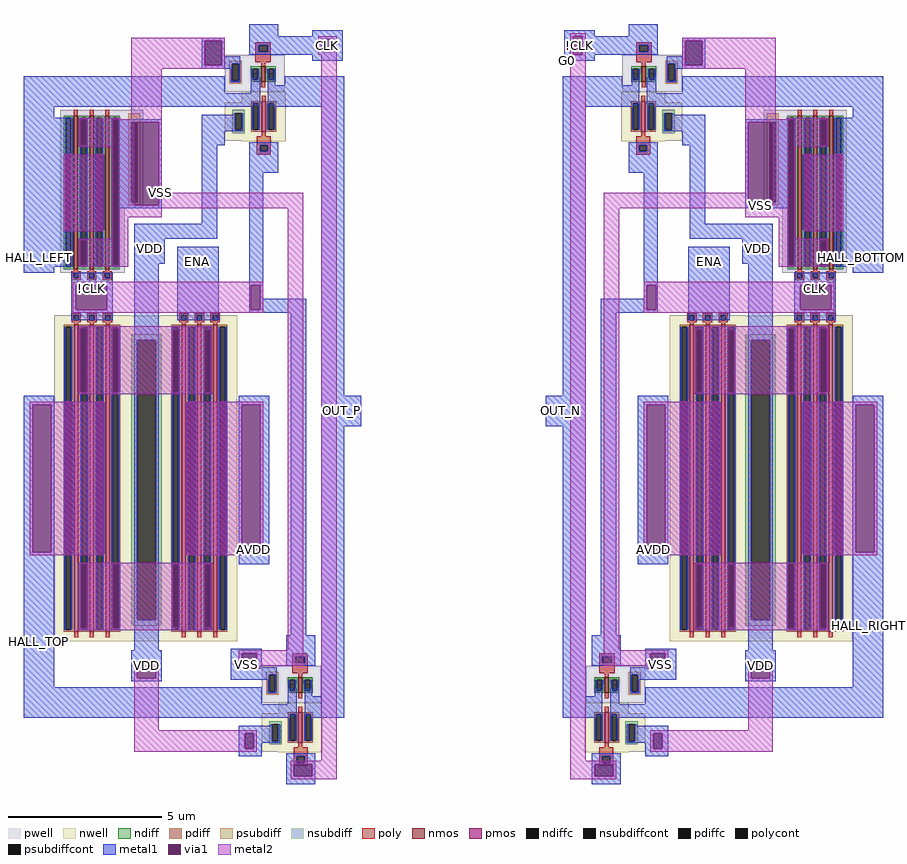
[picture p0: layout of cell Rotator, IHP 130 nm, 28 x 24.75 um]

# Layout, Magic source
magic
tech ihp-sg13g2
magscale 1 2
<< nwell >>
rect -2200 -5800 -1890 -3680
rect 1890 -5800 2200 -3680
<< pwell >>
rect -2560 -2980 -2020 -2340
rect 2020 -2980 2560 -2340
rect -2560 -3400 -2140 -2980
rect 2140 -3400 2560 -2980
<< psubdiff >>
rect -2120 -2420 -2040 -2360
rect -2120 -2940 -2100 -2420
rect -2060 -2940 -2040 -2420
rect -2120 -2960 -2040 -2940
rect 2040 -2420 2120 -2360
rect 2040 -2940 2060 -2420
rect 2100 -2940 2120 -2420
rect 2040 -2960 2120 -2940
<< nsubdiff >>
rect -2100 -3840 -1900 -3800
rect -2100 -5660 -2060 -3840
rect -1940 -5660 -1900 -3840
rect -2100 -5700 -1900 -5660
rect 1900 -3840 2100 -3800
rect 1900 -5660 1940 -3840
rect 2060 -5660 2100 -3840
rect 1900 -5700 2100 -5660
<< psubdiffcont >>
rect -2100 -2940 -2060 -2420
rect 2060 -2940 2100 -2420
<< nsubdiffcont >>
rect -2060 -5660 -1940 -3840
rect 1940 -5660 2060 -3840
<< metal1 >>
rect -920 -1860 -720 -1820
rect -1140 -1880 -720 -1860
rect -1140 -1960 -860 -1880
rect -780 -1960 -720 -1880
rect -1140 -1980 -720 -1960
rect -920 -2020 -720 -1980
rect 720 -1860 920 -1820
rect 720 -1980 780 -1860
rect 840 -1980 1140 -1860
rect 720 -2020 920 -1980
rect -2800 -2320 -1640 -2120
rect -960 -2320 -710 -2120
rect -2800 -2390 -2600 -2320
rect -2800 -3360 -2480 -2390
rect -2180 -2420 -1900 -2400
rect -2180 -2940 -2100 -2420
rect -2180 -2960 -2080 -2940
rect -1920 -2960 -1900 -2420
rect -2180 -2980 -1900 -2960
rect -1640 -3080 -1540 -2560
rect -2080 -3180 -1540 -3080
rect -2080 -3340 -1880 -3180
rect -2800 -3400 -2600 -3360
rect -2490 -3480 -2220 -3400
rect -2490 -3640 -2460 -3480
rect -2260 -3640 -2220 -3480
rect -2490 -3710 -2220 -3640
rect -2440 -3760 -2380 -3750
rect -2440 -4180 -2430 -3760
rect -2390 -4180 -2380 -3760
rect -2440 -4190 -2380 -4180
rect -2230 -3760 -2170 -3750
rect -2230 -4180 -2220 -3760
rect -2180 -4180 -2170 -3760
rect -2230 -4190 -2170 -4180
rect -2080 -3840 -1920 -3340
rect -1800 -3710 -1530 -3230
rect -1330 -3480 -1240 -2750
rect -1330 -3640 -1320 -3480
rect -1260 -3570 -1240 -3480
rect -1260 -3640 -960 -3570
rect -1330 -3660 -960 -3640
rect -2800 -4260 -2600 -4200
rect -2800 -5220 -2740 -4260
rect -2620 -5220 -2600 -4260
rect -2800 -6100 -2600 -5220
rect -2440 -5296 -2380 -5290
rect -2440 -5716 -2428 -5296
rect -2388 -5716 -2380 -5296
rect -2440 -5730 -2380 -5716
rect -2230 -5296 -2170 -5290
rect -2230 -5716 -2218 -5296
rect -2178 -5716 -2170 -5296
rect -2230 -5730 -2170 -5716
rect -2080 -5660 -2060 -3840
rect -1940 -5660 -1920 -3840
rect -1400 -4260 -1200 -4200
rect -1400 -5220 -1380 -4260
rect -1260 -5220 -1200 -4260
rect -1400 -5300 -1200 -5220
rect -2080 -5860 -1920 -5660
rect -1060 -5760 -960 -3660
rect -860 -4200 -710 -2320
rect 710 -2320 960 -2120
rect 1640 -2320 2800 -2120
rect 710 -4200 860 -2320
rect 2600 -2390 2800 -2320
rect 1900 -2420 2180 -2400
rect 1240 -3480 1330 -2750
rect 1540 -3080 1640 -2560
rect 1900 -2960 1920 -2420
rect 2100 -2940 2180 -2420
rect 2080 -2960 2180 -2940
rect 1900 -2980 2180 -2960
rect 1540 -3180 2080 -3080
rect 1240 -3570 1260 -3480
rect -860 -4400 -600 -4200
rect 600 -4400 860 -4200
rect -2100 -5980 -1900 -5860
rect -2100 -6040 -2060 -5980
rect -1940 -6040 -1900 -5980
rect -2100 -6060 -1900 -6040
rect -1450 -5880 -1250 -5850
rect -1450 -5960 -1380 -5880
rect -1280 -5960 -1250 -5880
rect -1450 -6050 -1250 -5960
rect -860 -6100 -710 -4400
rect 710 -6100 860 -4400
rect 960 -3640 1260 -3570
rect 1320 -3640 1330 -3480
rect 960 -3660 1330 -3640
rect 960 -5760 1060 -3660
rect 1530 -3710 1800 -3230
rect 1880 -3340 2080 -3180
rect 1920 -3840 2080 -3340
rect 2480 -3360 2800 -2390
rect 2600 -3400 2800 -3360
rect 2220 -3480 2490 -3400
rect 2220 -3640 2260 -3480
rect 2460 -3640 2490 -3480
rect 2220 -3710 2490 -3640
rect 1200 -4260 1400 -4200
rect 1200 -5220 1260 -4260
rect 1380 -5220 1400 -4260
rect 1200 -5300 1400 -5220
rect 1920 -5660 1940 -3840
rect 2060 -5660 2080 -3840
rect 2170 -3760 2230 -3750
rect 2170 -4180 2180 -3760
rect 2220 -4180 2230 -3760
rect 2170 -4190 2230 -4180
rect 2380 -3760 2440 -3750
rect 2380 -4180 2390 -3760
rect 2430 -4180 2440 -3760
rect 2380 -4190 2440 -4180
rect 2600 -4260 2800 -4200
rect 2600 -5220 2620 -4260
rect 2740 -5220 2800 -4260
rect 1250 -5880 1450 -5850
rect 1920 -5860 2080 -5660
rect 2170 -5296 2230 -5290
rect 2170 -5716 2178 -5296
rect 2218 -5716 2230 -5296
rect 2170 -5730 2230 -5716
rect 2380 -5296 2440 -5290
rect 2380 -5716 2388 -5296
rect 2428 -5716 2440 -5296
rect 2380 -5730 2440 -5716
rect 1250 -5960 1280 -5880
rect 1380 -5960 1450 -5880
rect 1250 -6050 1450 -5960
rect 1900 -5980 2100 -5860
rect 1900 -6040 1940 -5980
rect 2060 -6040 2100 -5980
rect 1900 -6060 2100 -6040
rect 2600 -6100 2800 -5220
rect -2800 -6300 -1400 -6100
rect 1400 -6300 2800 -6100
rect -1050 -6680 -1040 -6610
rect 1040 -6680 1050 -6610
<< via1 >>
rect -1620 -2050 -1510 -1890
rect -860 -1960 -780 -1880
rect 780 -1980 840 -1860
rect 1510 -2050 1620 -1890
rect -2430 -2570 -2390 -2400
rect -2430 -3350 -2390 -3190
rect -2220 -3350 -2180 -2400
rect -2080 -2940 -2060 -2420
rect -2060 -2940 -1920 -2420
rect -2080 -2960 -1920 -2940
rect -2460 -3640 -2260 -3480
rect -2430 -4180 -2390 -3760
rect -2220 -4180 -2180 -3760
rect -1320 -3640 -1260 -3480
rect -2740 -5220 -2620 -4260
rect -2428 -5716 -2388 -5296
rect -2218 -5716 -2178 -5296
rect -1830 -4180 -1790 -3770
rect -1620 -4180 -1580 -3770
rect -1380 -5220 -1260 -4260
rect -1830 -5710 -1790 -5300
rect -1620 -5710 -1580 -5300
rect 1920 -2940 2060 -2420
rect 2060 -2940 2080 -2420
rect 1920 -2960 2080 -2940
rect -2060 -6040 -1940 -5980
rect -1380 -5960 -1280 -5880
rect 1260 -3640 1320 -3480
rect 1580 -4180 1620 -3770
rect 1790 -4180 1830 -3770
rect 2180 -3350 2220 -2400
rect 2390 -2570 2430 -2400
rect 2390 -3350 2430 -3190
rect 2260 -3640 2460 -3480
rect 1260 -5220 1380 -4260
rect 1580 -5710 1620 -5300
rect 1790 -5710 1830 -5300
rect 2180 -4180 2220 -3760
rect 2390 -4180 2430 -3760
rect 2620 -5220 2740 -4260
rect 2178 -5716 2218 -5296
rect 2388 -5716 2428 -5296
rect 1280 -5960 1380 -5880
rect 1940 -6040 2060 -5980
rect -1360 -6500 -1300 -6400
rect 1300 -6500 1360 -6400
rect -1040 -6680 -920 -6600
rect 920 -6680 1040 -6600
<< metal2 >>
rect 760 -1860 860 -1840
rect -2100 -1890 -1490 -1870
rect -2100 -2050 -1620 -1890
rect -1510 -2050 -1490 -1890
rect -880 -1880 -760 -1860
rect -880 -1960 -860 -1880
rect -780 -1960 -760 -1880
rect -880 -1980 -760 -1960
rect -2100 -2070 -1490 -2050
rect -2440 -2400 -2170 -2390
rect -2100 -2400 -1900 -2070
rect -2440 -2570 -2430 -2400
rect -2390 -2570 -2220 -2400
rect -2440 -2580 -2220 -2570
rect -2540 -3130 -2280 -2630
rect -2230 -3180 -2220 -2580
rect -2440 -3190 -2220 -3180
rect -2440 -3350 -2430 -3190
rect -2390 -3350 -2220 -3190
rect -2180 -2420 -1900 -2400
rect -2180 -2960 -2080 -2420
rect -1920 -2880 -1900 -2420
rect -1920 -2960 -980 -2880
rect -2180 -2980 -980 -2960
rect -2180 -3040 -1900 -2980
rect -2180 -3350 -2120 -3040
rect -2440 -3360 -2120 -3350
rect -2480 -3480 -1240 -3460
rect -2480 -3640 -2460 -3480
rect -2260 -3640 -1320 -3480
rect -1260 -3640 -1240 -3480
rect -2480 -3660 -1240 -3640
rect -2440 -3760 -1570 -3750
rect -2440 -4180 -2430 -3760
rect -2390 -4180 -2220 -3760
rect -2180 -3770 -1570 -3760
rect -2180 -4180 -1830 -3770
rect -1790 -4180 -1620 -3770
rect -1580 -4180 -1570 -3770
rect -2440 -4190 -1570 -4180
rect -2760 -4260 -2280 -4240
rect -2760 -5220 -2740 -4260
rect -2620 -5220 -2280 -4260
rect -2760 -5240 -2280 -5220
rect -1740 -4260 -1240 -4240
rect -1740 -5220 -1380 -4260
rect -1260 -5220 -1240 -4260
rect -1740 -5240 -1240 -5220
rect -2440 -5296 -1570 -5290
rect -2440 -5716 -2428 -5296
rect -2388 -5716 -2218 -5296
rect -2178 -5300 -1570 -5296
rect -2178 -5710 -1830 -5300
rect -1790 -5710 -1620 -5300
rect -1580 -5710 -1570 -5300
rect -2178 -5716 -1570 -5710
rect -2440 -5730 -1570 -5716
rect -1080 -5860 -980 -2980
rect -1400 -5880 -980 -5860
rect -1400 -5960 -1380 -5880
rect -1280 -5960 -980 -5880
rect -2080 -5980 -1920 -5960
rect -1400 -5980 -1260 -5960
rect -2080 -6040 -2060 -5980
rect -1940 -6040 -1920 -5980
rect -2080 -6380 -1920 -6040
rect -2080 -6400 -1280 -6380
rect -2080 -6500 -1360 -6400
rect -1300 -6500 -1280 -6400
rect -2080 -6520 -1280 -6500
rect -860 -6580 -760 -1980
rect -1060 -6600 -760 -6580
rect -1060 -6680 -1040 -6600
rect -920 -6680 -760 -6600
rect -1060 -6700 -760 -6680
rect 760 -1980 780 -1860
rect 840 -1980 860 -1860
rect 760 -6580 860 -1980
rect 1490 -1890 2100 -1870
rect 1490 -2050 1510 -1890
rect 1620 -2050 2100 -1890
rect 1490 -2070 2100 -2050
rect 1900 -2400 2100 -2070
rect 2170 -2400 2440 -2390
rect 1900 -2420 2180 -2400
rect 1900 -2880 1920 -2420
rect 980 -2960 1920 -2880
rect 2080 -2960 2180 -2420
rect 980 -2980 2180 -2960
rect 980 -5860 1080 -2980
rect 1900 -3040 2180 -2980
rect 2120 -3350 2180 -3040
rect 2220 -2570 2390 -2400
rect 2430 -2570 2440 -2400
rect 2220 -2580 2440 -2570
rect 2220 -3180 2230 -2580
rect 2280 -3130 2540 -2630
rect 2220 -3190 2440 -3180
rect 2220 -3350 2390 -3190
rect 2430 -3350 2440 -3190
rect 2120 -3360 2440 -3350
rect 1240 -3480 2480 -3460
rect 1240 -3640 1260 -3480
rect 1320 -3640 2260 -3480
rect 2460 -3640 2480 -3480
rect 1240 -3660 2480 -3640
rect 1570 -3760 2440 -3750
rect 1570 -3770 2180 -3760
rect 1570 -4180 1580 -3770
rect 1620 -4180 1790 -3770
rect 1830 -4180 2180 -3770
rect 2220 -4180 2390 -3760
rect 2430 -4180 2440 -3760
rect 1570 -4190 2440 -4180
rect 1240 -4260 1740 -4240
rect 1240 -5220 1260 -4260
rect 1380 -5220 1740 -4260
rect 1240 -5240 1740 -5220
rect 2280 -4260 2760 -4240
rect 2280 -5220 2620 -4260
rect 2740 -5220 2760 -4260
rect 2280 -5240 2760 -5220
rect 1570 -5296 2440 -5290
rect 1570 -5300 2178 -5296
rect 1570 -5710 1580 -5300
rect 1620 -5710 1790 -5300
rect 1830 -5710 2178 -5300
rect 1570 -5716 2178 -5710
rect 2218 -5716 2388 -5296
rect 2428 -5716 2440 -5296
rect 1570 -5730 2440 -5716
rect 980 -5880 1400 -5860
rect 980 -5960 1280 -5880
rect 1380 -5960 1400 -5880
rect 1260 -5980 1400 -5960
rect 1920 -5980 2080 -5960
rect 1920 -6040 1940 -5980
rect 2060 -6040 2080 -5980
rect 1920 -6380 2080 -6040
rect 1280 -6400 2080 -6380
rect 1280 -6500 1300 -6400
rect 1360 -6500 2080 -6400
rect 1280 -6520 2080 -6500
rect 760 -6600 1060 -6580
rect 760 -6680 920 -6600
rect 1040 -6680 1060 -6600
rect 760 -6700 1060 -6680
use sg13_lv_nmos_CG6YDS  sg13_lv_nmos_CG6YDS_0
transform 1 0 -2357 0 -1 -2895
box -183 -555 183 555
use sg13_lv_nmos_CG6YDS  sg13_lv_nmos_CG6YDS_1
transform -1 0 2357 0 -1 -2895
box -183 -555 183 555
use sg13_lv_pmos_QV6Q7W  sg13_lv_pmos_QV6Q7W_0
transform -1 0 1655 0 1 -4719
box -245 -1081 245 1055
use CMOS_transmission_gate  x1
transform -1 0 1780 0 -1 -7850
box 380 -2090 1070 -1120
use CMOS_transmission_gate  x2
transform 1 0 -2020 0 -1 -3870
box 380 -2090 1070 -1120
use CMOS_transmission_gate  x3
transform -1 0 2020 0 -1 -3870
box 380 -2090 1070 -1120
use CMOS_transmission_gate  x10
transform 1 0 -1780 0 -1 -7850
box 380 -2090 1070 -1120
use sg13_lv_pmos_CV6Q76  XM2
transform 1 0 -2355 0 1 -4719
box -245 -1081 245 1055
use sg13_lv_pmos_QV6Q7W  XM3
transform 1 0 -1655 0 1 -4719
box -245 -1081 245 1055
use sg13_lv_pmos_CV6Q76  XM4
transform -1 0 2355 0 1 -4719
box -245 -1081 245 1055
<< labels >>
flabel metal1 -1770 -3430 -1570 -3230 0 FreeSans 256 0 0 0 ENA
port 11 nsew
flabel metal1 -1450 -6050 -1250 -5850 0 FreeSans 256 0 0 0 VSS
port 1 nsew
flabel metal1 -1920 -2980 -1900 -2780 0 FreeSans 256 0 0 0 VSS
port 1 nsew
flabel metal1 -2080 -3340 -1880 -3140 0 FreeSans 256 0 0 0 VDD
port 0 nsew
flabel metal1 -2460 -3600 -2260 -3400 0 FreeSans 256 0 0 0 !CLK
port 3 nsew
flabel metal1 -1400 -5300 -1200 -5100 0 FreeSans 256 0 0 0 AVDD
port 10 nsew
flabel metal1 -920 -2020 -720 -1820 0 FreeSans 256 0 0 0 CLK
port 2 nsew
flabel metal1 -2800 -3400 -2600 -3200 0 FreeSans 256 0 0 0 HALL_LEFT
port 6 nsew
flabel metal1 -800 -4400 -660 -4200 0 FreeSans 256 0 0 0 OUT_P
port 5 nsew
flabel metal1 1570 -3430 1770 -3230 0 FreeSans 256 180 0 0 ENA
port 11 nsew
flabel metal1 1250 -6050 1450 -5850 0 FreeSans 256 180 0 0 VSS
port 1 nsew
flabel metal1 1900 -6060 2100 -5860 0 FreeSans 256 180 0 0 VDD
port 0 nsew
flabel metal1 1880 -3340 2080 -3140 0 FreeSans 256 180 0 0 VDD
port 0 nsew
flabel metal1 1200 -5300 1400 -5100 0 FreeSans 256 180 0 0 AVDD
port 10 nsew
flabel metal1 600 -4400 800 -4200 0 FreeSans 256 180 0 0 OUT_N
port 5 nsew
flabel metal1 2600 -3400 2800 -3200 0 FreeSans 256 270 0 0 HALL_BOTTOM
port 14 nsew
flabel metal1 2600 -5800 2800 -5600 0 FreeSans 256 270 0 0 HALL_RIGHT
port 16 n
flabel metal1 2260 -3600 2460 -3400 0 FreeSans 256 180 0 0 CLK
port 2 nsew
flabel metal1 1900 -2980 2100 -2940 0 FreeSans 256 180 0 0 VSS
port 1 nsew
flabel metal1 720 -2020 920 -1820 0 FreeSans 256 270 0 0 !CLK
port 3 nsew
rlabel metal1 740 -2019 740 -2019 0 G0
port 2 nsew
rlabel metal1 740 -1917 740 -1917 0 G1
port 4 nsew
flabel metal1 -2100 -6060 -1900 -5860 0 FreeSans 256 0 0 0 VDD
port 0 nsew
flabel metal1 -2800 -5900 -2600 -5700 0 FreeSans 256 0 0 0 HALL_TOP
port 18 nsew
<< end >>

# cell sg13_lv_nmos_CG6YDS: kit device sg13_lv_nmos, w 5 l 0.13 m 1 nf 3 diffcov 100 polycov 100 guard 0 glc 1 grc 1 gtc 1 gbc 1 tbcov 100 rlcov 100 topc 1 botc 0 poverlap 0 doverlap 1 lmin 0.13 wmin 0.15 class mosfet compatible {sg13_lv_nmos sg13_hv_nmos} full_metal 1 conn_gates 0 gate_ring 0 doports 1 viasrc 0 viadrn 50 viagate 0 ccols 1 viagb 0 viagr 0 viagl 0 viagt 0

# cell sg13_lv_pmos_QV6Q7W: kit device sg13_lv_pmos, w 10 l 0.13 m 1 nf 3 diffcov 100 polycov 100 guard 0 glc 1 grc 1 gtc 1 gbc 1 tbcov 100 rlcov 100 topc 1 botc 0 poverlap 0 doverlap 1 lmin 0.13 wmin 0.15 class mosfet compatible {sg13_lv_pmos sg13_hv_pmos} full_metal 1 conn_gates 0 gate_ring 0 ccols 1 viasrc 50 viadrn 0 viagate 0 viagb 0 viagr 0 viagl 0 viagt 0 doports 1

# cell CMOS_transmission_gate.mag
magic
tech ihp-sg13g2
magscale 1 2
<< nwell >>
rect 530 -1380 690 -1330
rect 530 -1520 660 -1380
rect 670 -1520 690 -1380
rect 530 -1550 690 -1520
rect 530 -1580 640 -1550
<< pwell >>
rect 530 -1770 920 -1650
rect 530 -1810 700 -1770
rect 760 -1810 800 -1770
rect 860 -1810 920 -1770
rect 530 -1890 920 -1810
<< psubdiff >>
rect 560 -1720 640 -1700
rect 560 -1830 580 -1720
rect 620 -1830 640 -1720
rect 560 -1850 640 -1830
<< nsubdiff >>
rect 580 -1400 660 -1380
rect 580 -1510 600 -1400
rect 640 -1510 660 -1400
rect 580 -1530 660 -1510
<< psubdiffcont >>
rect 580 -1830 620 -1720
<< nsubdiffcont >>
rect 600 -1510 640 -1400
<< poly >>
rect 740 -1260 830 -1240
rect 740 -1300 760 -1260
rect 810 -1300 830 -1260
rect 740 -1360 830 -1300
rect 730 -1910 830 -1840
rect 730 -1950 750 -1910
rect 810 -1950 830 -1910
rect 730 -1970 830 -1950
<< polycont >>
rect 760 -1300 810 -1260
rect 750 -1950 810 -1910
<< metal1 >>
rect 690 -1260 880 -1120
rect 690 -1300 760 -1260
rect 810 -1300 880 -1260
rect 380 -1390 530 -1300
rect 690 -1320 880 -1300
rect 380 -1400 650 -1390
rect 380 -1500 600 -1400
rect 590 -1510 600 -1500
rect 640 -1510 650 -1400
rect 380 -1560 710 -1550
rect 860 -1560 1070 -1550
rect 380 -1640 760 -1560
rect 380 -1750 530 -1640
rect 570 -1720 630 -1710
rect 570 -1800 580 -1720
rect 380 -1830 580 -1800
rect 620 -1830 630 -1720
rect 700 -1740 760 -1640
rect 810 -1690 1070 -1560
rect 810 -1740 860 -1690
rect 920 -1750 1070 -1690
rect 380 -1880 630 -1830
rect 380 -2000 530 -1880
rect 690 -1910 880 -1890
rect 690 -1950 750 -1910
rect 810 -1950 880 -1910
rect 690 -2090 880 -1950
use sg13_lv_nmos_TCSPJJ  XM1
transform 1 0 781 0 1 -1764
box -81 -86 81 86
use sg13_lv_pmos_LDAKWR  XM2
transform 1 0 783 0 1 -1488
box -143 -162 143 162
<< labels >>
flabel metal1 690 -1320 880 -1120 0 FreeSans 256 0 0 0 !Control
port 0 nsew
flabel metal1 920 -1750 1070 -1550 0 FreeSans 256 0 0 0 Vout
port 3 nsew
flabel metal1 380 -1750 530 -1550 0 FreeSans 256 0 0 0 Vin
port 2 nsew
flabel metal1 380 -2000 530 -1800 0 FreeSans 256 0 0 0 gnd
port 4 nsew
flabel metal1 380 -1500 530 -1300 0 FreeSans 256 0 0 0 vdd
port 1 nsew
flabel metal1 690 -2090 880 -1890 0 FreeSans 256 0 0 0 Control
port 5 nsew
<< end >>

# cell sg13_lv_pmos_CV6Q76: kit device sg13_lv_pmos, w 10 l 0.13 m 1 nf 3 diffcov 100 polycov 100 guard 0 glc 1 grc 1 gtc 1 gbc 1 tbcov 100 rlcov 100 topc 1 botc 0 poverlap 0 doverlap 1 lmin 0.13 wmin 0.15 class mosfet compatible {sg13_lv_pmos sg13_hv_pmos} full_metal 1 conn_gates 0 gate_ring 0 ccols 1 viasrc 0 viadrn 50 viagate 0 viagb 0 viagr 0 viagl 0 viagt 0 doports 1

# cell sg13_lv_nmos_TCSPJJ: kit device sg13_lv_nmos, w 0.5 l 0.13 m 1 nf 1 diffcov 100 polycov 100 guard 0 glc 1 grc 1 gtc 1 gbc 1 tbcov 100 rlcov 100 topc 0 botc 0 poverlap 0 doverlap 1 lmin 0.13 wmin 0.15 class mosfet compatible {sg13_lv_nmos sg13_hv_nmos} full_metal 1 conn_gates 0 gate_ring 0 doports 1 viasrc 0 viadrn 0 viagate 0 ccols 1 viagb 0 viagr 0 viagl 0 viagt 0

# cell sg13_lv_pmos_LDAKWR: kit device sg13_lv_pmos, w 1 l 0.13 m 1 nf 1 diffcov 100 polycov 100 guard 0 glc 1 grc 1 gtc 1 gbc 1 tbcov 100 rlcov 100 topc 0 botc 0 poverlap 0 doverlap 1 lmin 0.13 wmin 0.15 class mosfet compatible {sg13_lv_pmos sg13_hv_pmos} full_metal 1 conn_gates 0 gate_ring 0 ccols 1 viasrc 0 viadrn 0 viagate 0 viagb 0 viagr 0 viagl 0 viagt 0 doports 1
